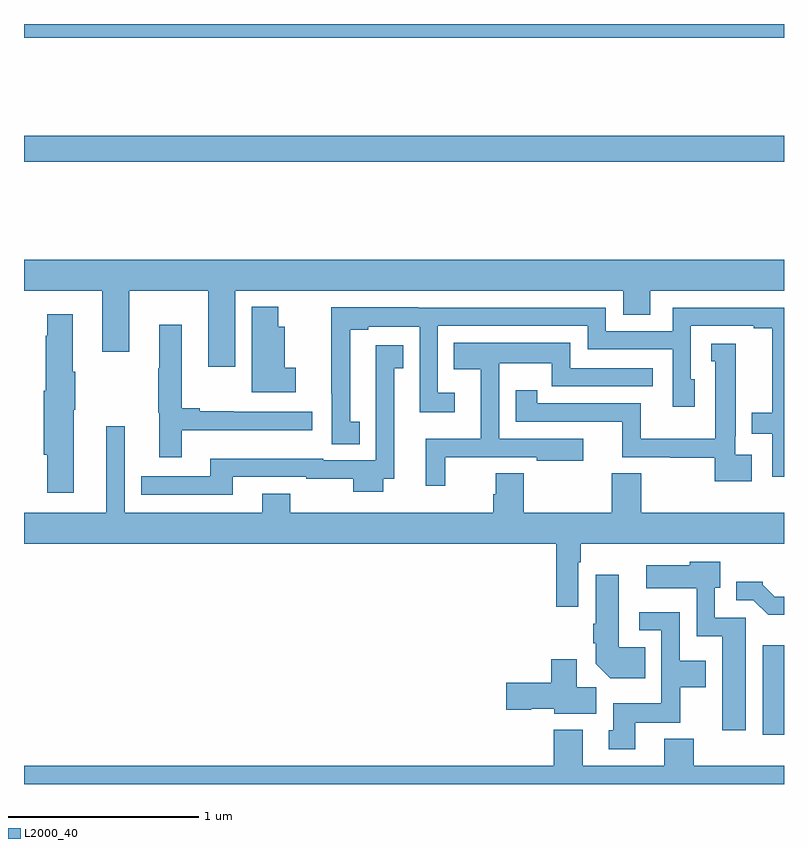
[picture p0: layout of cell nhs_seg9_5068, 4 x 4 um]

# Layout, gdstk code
import gdstk
lib = gdstk.Library(unit=1e-6, precision=1e-09)
def R(c, l, rs):  # rectangles x0, y0, x1, y1
    for r in rs: c.add(gdstk.rectangle(r[:2], r[2:], *l))
def P(c, l, *ps):  # polygons
    for p in ps: c.add(gdstk.Polygon(p, *l))
L2000_40 = (2000, 40)

nhs_seg9_5068 = lib.new_cell('nhs_seg9_5068')
R(nhs_seg9_5068, L2000_40, [(408.887,1184.76,409,1185.229), (405,1187.776,409,1187.912), (405,1188.428,409,1188.5)])
P(nhs_seg9_5068, L2000_40, [(406.111,1187.096),(408.155,1187.096),(408.155,1186.969),(408.295,1186.969),(408.295,1187.096),(409,1187.096),(409,1187.26),(405,1187.26),(405,1187.096),(405.413,1187.096),(405.413,1186.776),(405.553,1186.776),(405.553,1187.096),(405.971,1187.096),(405.971,1186.695),(406.111,1186.695)],
  [(406.429,1186.692),(406.372,1186.692),(406.372,1186.906),(406.339,1186.906),(406.339,1187.011),(406.199,1187.011),(406.199,1186.562),(406.429,1186.562)],
  [(409,1187.007),(408.414,1187.007),(408.414,1186.884),(408.063,1186.884),(408.063,1187.007),(407.075,1187.007),(407.075,1187.008),(406.618,1187.008),(406.618,1186.555),(406.62,1186.555),(406.62,1186.288),(406.766,1186.288),(406.766,1186.407),(406.717,1186.407),(406.717,1186.89),(406.813,1186.89),(406.813,1186.907),(407.082,1186.907),(407.082,1186.457),(407.266,1186.457),(407.266,1186.558),(407.178,1186.558),(407.178,1186.911),(407.967,1186.911),(407.967,1186.788),(408.414,1186.788),(408.414,1186.485),(408.529,1186.485),(408.529,1186.629),(408.51,1186.629),(408.51,1186.911),(408.842,1186.911),(408.842,1186.899),(408.938,1186.899),(408.938,1186.453),(408.83,1186.453),(408.83,1186.344),(408.939,1186.344),(408.939,1186.116),(409,1186.116)],
  [(405.262,1186.469),(405.27,1186.469),(405.27,1186.669),(405.256,1186.669),(405.256,1186.972),(405.122,1186.972),(405.122,1186.859),(405.115,1186.859),(405.115,1186.569),(405.104,1186.569),(405.104,1186.233),(405.122,1186.233),(405.122,1186.032),(405.262,1186.032)],
  [(405.829,1186.361),(406.516,1186.361),(406.516,1186.458),(406.103,1186.458),(406.103,1186.461),(405.925,1186.461),(405.925,1186.478),(405.829,1186.478),(405.829,1186.918),(405.713,1186.918),(405.713,1186.688),(405.706,1186.688),(405.706,1186.455),(405.713,1186.455),(405.713,1186.221),(405.829,1186.221)],
  [(407.216,1186.221),(407.699,1186.221),(407.699,1186.202),(407.944,1186.202),(407.944,1186.317),(407.502,1186.317),(407.502,1186.715),(407.778,1186.715),(407.778,1186.594),(407.881,1186.594),(407.881,1186.593),(408.31,1186.593),(408.31,1186.689),(407.874,1186.689),(407.874,1186.822),(407.263,1186.822),(407.263,1186.682),(407.405,1186.682),(407.405,1186.318),(407.114,1186.318),(407.114,1186.071),(407.216,1186.071)],
  [(408.829,1186.234),(408.744,1186.234),(408.744,1186.33),(408.745,1186.33),(408.745,1186.818),(408.617,1186.818),(408.617,1186.725),(408.638,1186.725),(408.638,1186.318),(408.247,1186.318),(408.247,1186.503),(407.7,1186.503),(407.7,1186.573),(407.587,1186.573),(407.587,1186.407),(408.149,1186.407),(408.149,1186.221),(408.402,1186.221),(408.402,1186.216),(408.636,1186.216),(408.636,1186.094),(408.829,1186.094)],
  [(406.099,1186.116),(406.485,1186.116),(406.485,1186.106),(406.732,1186.106),(406.732,1186.037),(406.891,1186.037),(406.891,1186.107),(406.948,1186.107),(406.948,1186.689),(406.997,1186.689),(406.997,1186.81),(406.85,1186.81),(406.85,1186.486),(406.851,1186.486),(406.851,1186.203),(406.575,1186.203),(406.575,1186.213),(405.98,1186.213),(405.98,1186.119),(405.616,1186.119),(405.616,1186.023),(406.099,1186.023)],
  [(407.916,1185.668),(407.929,1185.668),(407.929,1185.764),(409,1185.764),(409,1185.928),(408.249,1185.928),(408.249,1186.136),(408.094,1186.136),(408.094,1185.928),(407.631,1185.928),(407.631,1186.136),(407.483,1186.136),(407.483,1186.026),(407.471,1186.026),(407.471,1185.928),(406.401,1185.928),(406.401,1186.027),(406.253,1186.027),(406.253,1185.928),(405.531,1185.928),(405.531,1186.384),(405.434,1186.384),(405.434,1185.928),(405,1185.928),(405,1185.764),(407.8,1185.764),(407.8,1185.432),(407.916,1185.432)],
  [(408.799,1185.375),(408.636,1185.375),(408.636,1185.534),(408.664,1185.534),(408.664,1185.67),(408.504,1185.67),(408.504,1185.652),(408.276,1185.652),(408.276,1185.53),(408.54,1185.53),(408.54,1185.278),(408.674,1185.278),(408.674,1184.784),(408.799,1184.784)],
  [(408.269,1185.22),(408.13,1185.22),(408.13,1185.601),(408.008,1185.601),(408.008,1185.344),(407.996,1185.344),(407.996,1185.241),(408.008,1185.241),(408.008,1185.134),(408.086,1185.056),(408.269,1185.056)],
  [(409,1185.486),(408.952,1185.486),(408.888,1185.55),(408.888,1185.565),(408.749,1185.565),(408.749,1185.468),(408.837,1185.468),(408.916,1185.39),(409,1185.39)],
  [(408.217,1184.822),(408.453,1184.822),(408.453,1185.008),(408.589,1185.008),(408.589,1185.148),(408.45,1185.148),(408.45,1185.405),(408.237,1185.405),(408.237,1185.309),(408.354,1185.309),(408.354,1184.926),(408.101,1184.926),(408.101,1184.784),(408.077,1184.784),(408.077,1184.682),(408.217,1184.682)],
  [(408.013,1185.008),(407.908,1185.008),(407.908,1185.157),(407.774,1185.157),(407.774,1185.032),(407.538,1185.032),(407.538,1184.89),(407.67,1184.89),(407.67,1184.897),(407.79,1184.897),(407.79,1184.87),(408.013,1184.87)],
  [(409,1184.596),(408.524,1184.596),(408.524,1184.737),(408.371,1184.737),(408.371,1184.596),(407.941,1184.596),(407.941,1184.785),(407.789,1184.785),(407.789,1184.596),(405,1184.596),(405,1184.5),(409,1184.5)])

lib.write_gds('nhs_seg9_5068.gds')
